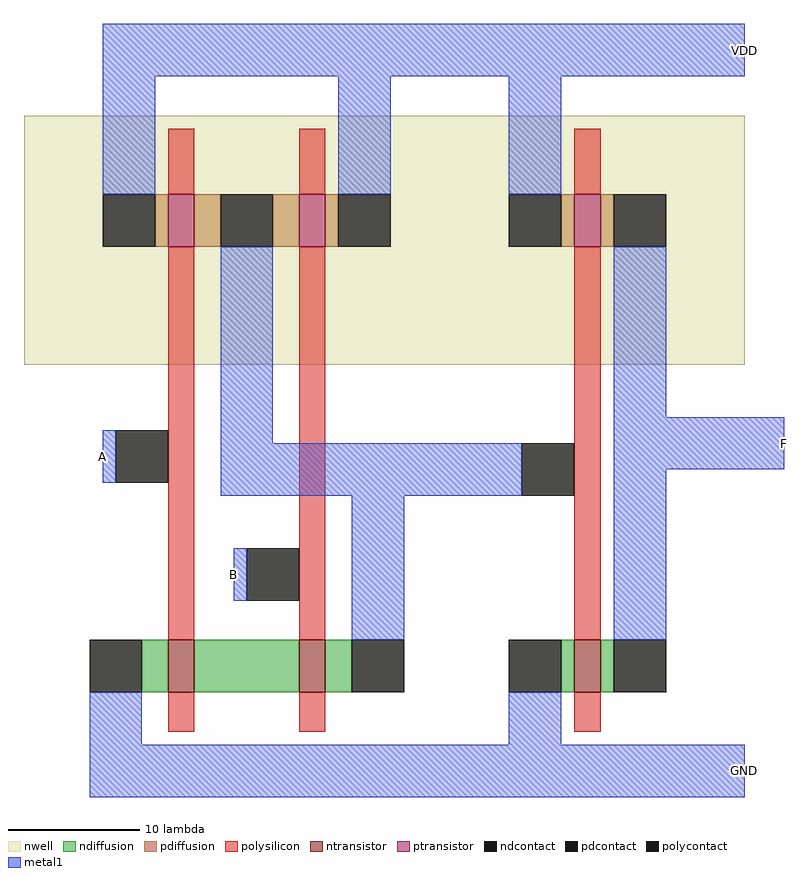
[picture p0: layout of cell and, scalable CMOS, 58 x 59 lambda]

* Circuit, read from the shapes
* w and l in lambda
.subckt and A B F GND VDD
M1 n1 A GND VSUBS nfet w=4 l=2
M2 n2 B n1 VSUBS nfet w=4 l=2
M3 F n2 GND VSUBS nfet w=4 l=2
M4 n2 A VDD n3 pfet w=4 l=2
M5 VDD B n2 n3 pfet w=4 l=2
M6 F n2 VDD n3 pfet w=4 l=2
.ends

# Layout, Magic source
magic
tech scmos
<< nwell >>
rect -16 -10 39 9
<< ntransistor >>
rect -5 -35 -3 -31
rect 5 -35 7 -31
rect 26 -35 28 -31
<< ptransistor >>
rect -5 -1 -3 3
rect 5 -1 7 3
rect 26 -1 28 3
<< ndiffusion >>
rect -7 -35 -5 -31
rect -3 -35 5 -31
rect 7 -35 9 -31
rect 25 -35 26 -31
rect 28 -35 29 -31
<< pdiffusion >>
rect -6 -1 -5 3
rect -3 -1 -1 3
rect 3 -1 5 3
rect 7 -1 8 3
rect 25 -1 26 3
rect 28 -1 29 3
<< ndcontact >>
rect -11 -35 -7 -31
rect 9 -35 13 -31
rect 21 -35 25 -31
rect 29 -35 33 -31
<< pdcontact >>
rect -10 -1 -6 3
rect -1 -1 3 3
rect 8 -1 12 3
rect 21 -1 25 3
rect 29 -1 33 3
<< polysilicon >>
rect -5 3 -3 8
rect 5 3 7 8
rect 26 3 28 8
rect -5 -31 -3 -1
rect 5 -31 7 -1
rect 26 -31 28 -1
rect -5 -38 -3 -35
rect 5 -38 7 -35
rect 26 -38 28 -35
<< polycontact >>
rect -9 -19 -5 -15
rect 1 -28 5 -24
rect 22 -20 26 -16
<< metal1 >>
rect -10 12 39 16
rect -10 3 -6 12
rect 8 3 12 12
rect 21 3 25 12
rect -10 -19 -9 -15
rect -1 -16 3 -1
rect 29 -14 33 -1
rect -1 -20 22 -16
rect 29 -18 42 -14
rect 0 -28 1 -24
rect 9 -31 13 -20
rect 29 -31 33 -18
rect -11 -39 -7 -35
rect 21 -39 25 -35
rect -11 -43 39 -39
<< labels >>
rlabel metal1 42 -18 42 -14 7 F
rlabel metal1 39 12 39 16 6 VDD
rlabel metal1 39 -43 39 -39 8 GND
rlabel metal1 -10 -19 -10 -15 1 A
rlabel metal1 0 -28 0 -24 1 B
<< end >>
